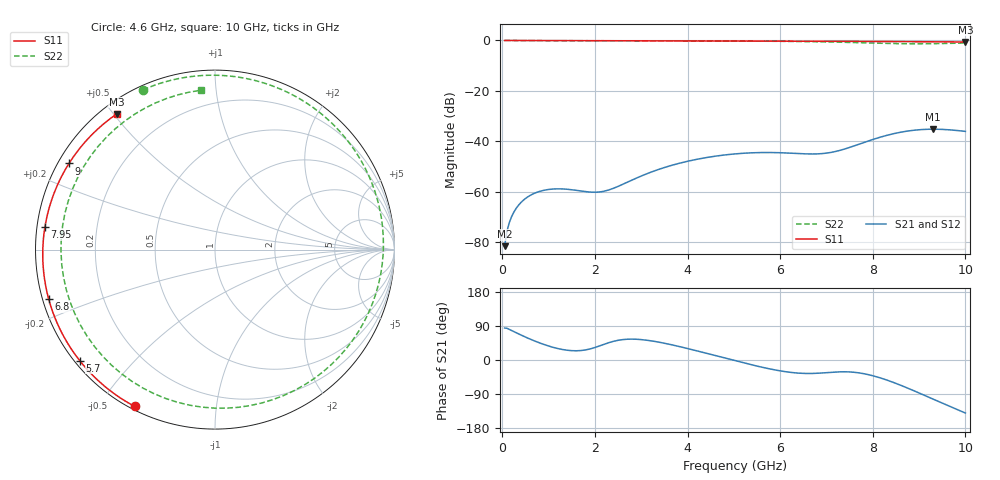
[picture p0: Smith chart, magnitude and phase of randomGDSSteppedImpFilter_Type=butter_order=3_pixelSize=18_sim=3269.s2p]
! freq	dB(S11)	phase(S11)	dB(S12)	phase(S12)
!  dB(S21)	phase(S21)	dB(S22)	phase(S22)
!S-par simulation data
#  GHz  S  DB  R 50
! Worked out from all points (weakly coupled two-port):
!   200 points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, 50 MHz to 10 GHz, reference 50 ohm
!   highest |S21| = -35.19 dB at 9.3 GHz (marker M1); lowest = -81.6 dB at 50 MHz (marker M2)
!   lowest |S11| = -0.6 dB at 10 GHz (marker M3), VSWR 28.86, Z = 2.18 + j25.4 ohm
!   |S11| at or under -10 dB: nowhere
!   |S22| runs from -1.3 to 0.0 dB; largest |S21 - S12| = 0
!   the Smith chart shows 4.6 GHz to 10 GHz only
!   S11 on the Smith chart (normalised r, x): 4.6 GHz: 0.01, -0.61; 5.7 GHz: 0.01, -0.36; 6.8 GHz: 0.02, -0.15; 7.95 GHz: 0.02, +0.07; 9 GHz: 0.03, +0.27; 10 GHz: 0.04, +0.51
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0.05  -0.00 -1.4  -81.59 84.4  -81.59 84.4  -0.00 -4.8
0.15  -0.01 -4.3  -72.32 80.9  -72.32 80.9  -0.02 -14.2
0.25  -0.01 -7.1  -68.06 74.9  -68.06 74.9  -0.03 -23.5
0.55  -0.02 -15.5  -62.04 57.8  -62.04 57.8  -0.06 -50.2
1.05  -0.04 -29.5  -58.99 35.0  -58.99 35.0  -0.10 -89.0
1.75  -0.06 -48.4  -59.84 25.7  -59.84 25.7  -0.12 -131.2
2.5  -0.08 -67.8  -57.88 52.0  -57.88 52.0  -0.13 -165.9
3.4  -0.11 -89.9  -51.00 46.6  -51.00 46.6  -0.15 159.1
4.6  -0.16 -117.2  -45.89 11.6  -45.89 11.6  -0.21 114.3
5.05  -0.18 -126.9  -44.95 -2.6  -44.95 -2.6  -0.24 96.2
5.7  -0.22 -140.7  -44.44 -21.6  -44.44 -21.6  -0.30 67.5
6.2  -0.25 -151.1  -44.68 -32.3  -44.68 -32.3  -0.38 42.5
6.7  -0.29 -161.4  -45.02 -35.5  -45.02 -35.5  -0.49 14.0
6.8  -0.30 -163.5  -44.99 -35.0  -44.99 -35.0  -0.52 7.8
7.35  -0.34 -174.9  -43.29 -31.0  -43.29 -31.0  -0.72 -29.6
7.95  -0.39 172.5  -39.58 -40.0  -39.58 -40.0  -1.01 -77.3
8.35  -0.43 163.9  -37.41 -54.9  -37.41 -54.9  -1.19 -112.9
8.7  -0.47 156.2  -36.08 -71.5  -36.08 -71.5  -1.30 -145.8
9  -0.50 149.5  -35.41 -87.0  -35.41 -87.0  -1.33 -174.6
9.3  -0.53 142.6  -35.19 -103.1  -35.19 -103.1  -1.29 157.0
9.65  -0.57 134.4  -35.44 -121.7  -35.44 -121.7  -1.16 125.0
10  -0.60 126.0  -36.06 -140.0  -36.06 -140.0  -1.00 95.1
